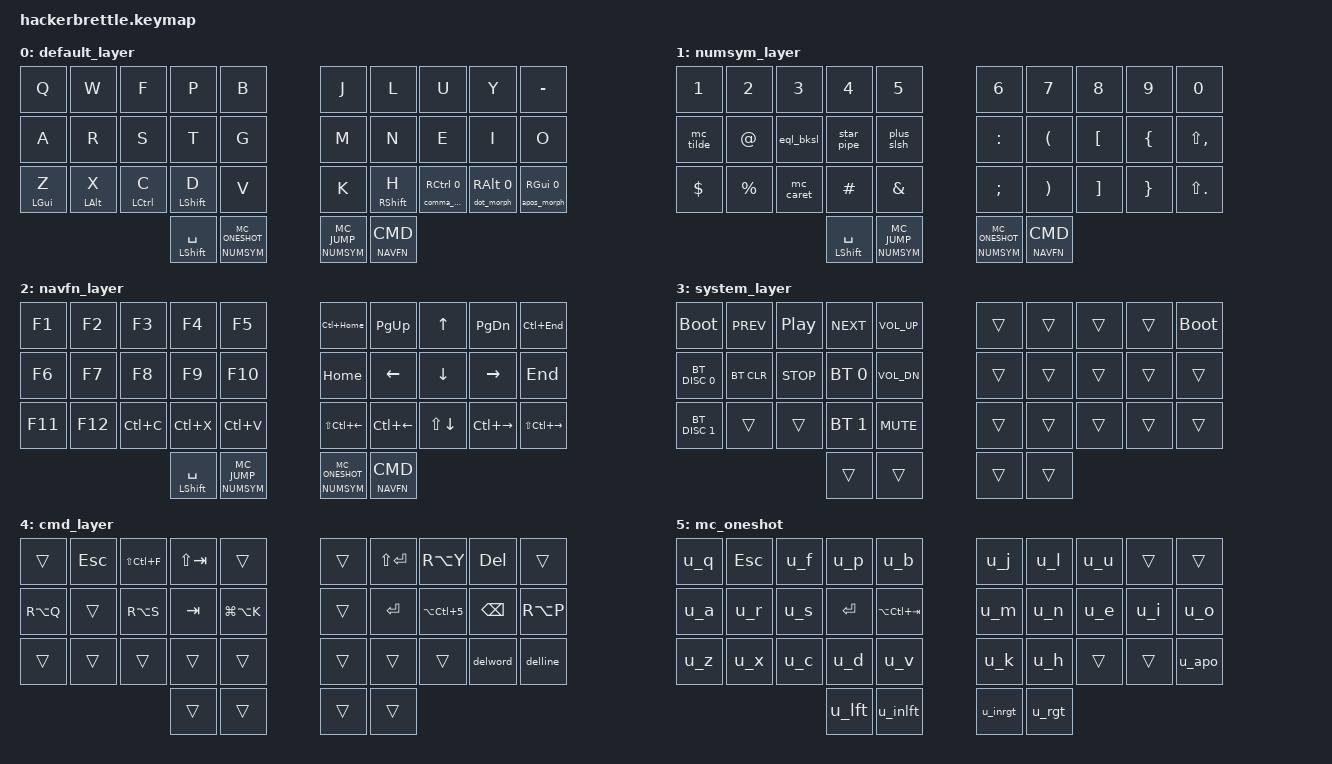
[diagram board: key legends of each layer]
// Copyright (c) 2022 The ZMK Contributors
// SPDX-License-Identifier: MIT

#include <behaviors.dtsi>
#include <dt-bindings/zmk/keys.h>
#include <dt-bindings/zmk/bt.h>
#include "inc/helpers.h"

// Layers
#define BASE 0
#define NUMSYM 1
#define NAVFN 2
#define SYSTEM 3
#define CMD 4
#define MC_ONESHOT 5
#define MC_JUMP 6
#define MC_M 7
#define MC_S 8
#define MC_N 9
#define MC_T 10
#define MC_E 11
#define MC_C 12
#define MC_X 13
#define BASE_LAYERS BASE 

#define ___ &trans
#define toM &sl 7
#define toS &sl 8
#define toN &sl 9
#define toT &sl 10
#define toE &sl 11
#define toP &sl 12
#define toX &sl 13

/* How quickly Combo keys must be pressed together */
#define COMBO_TIMEOUT_MS 30
/* Macro timers; can be increased for systems that don't like 0ms Macros */
#define FAST_MACRO_TAP_MS 0
#define FAST_MACRO_WAIT_MS 0

/* Custom base layer punctuation */
SHIFT_MORPH(comma_qust, &kp COMMA, &kp QMARK)
SHIFT_MORPH(dot_exc, &kp DOT, &kp EXCL)
SHIFT_MORPH(eql_bksl, &kp EQUAL, &kp BSLH)
SHIFT_MORPH(star_pipe, &kp STAR, &kp PIPE)
SHIFT_MORPH(plus_slsh, &kp PLUS, &kp FSLH)

MY_HOLD_TAP(dot_morph, &dot_exc, &kp)
MY_HOLD_TAP(comma_morph, &comma_qust, &kp)
MY_HOLD_TAP(apos_morph, &mc_apos, &kp)

/ {
    behaviors {
        ht: hold_tap {
            compatible = "zmk,behavior-hold-tap";
            #binding-cells = <2>;
            flavor = "balanced";
            tapping-term-ms = <300>;
            quick-tap-ms = <150>;
            require-prior-idle-ms = <100>;
            bindings = <&kp>, <&kp>;
        };

        /* Let Caps Word continue when typing Underscore */
        caps_word {
            continue-list = <UNDERSCORE MINUS BACKSPACE DELETE>;
        };

        hm: hold_mod {
            compatible = "zmk,behavior-hold-tap";
            #binding-cells = <2>;
            flavor = "balanced";
            tapping-term-ms = <300>;
            quick_tap_ms = <0>;
            bindings = <&mo>, <&sl>;
        };
    };
    
    conditional_layers {
        compatible = "zmk,conditional-layers";
        tri_layer {
            if-layers = <NUMSYM NAVFN>;
            then-layer = <SYSTEM>;
        };
    };

#include "inc/leader_macros.h" 
#include "inc/combos.h" 
    
 // cheat-sheet for indexes
 //       ┌──┐              ┌──┐
 //    ┌──┤2 ├──┬──┐  ┌──┬──┤7 ├──┐
 // ┌──┤1 ├──┤3 │4 │  │5 │6 ├──┤8 ├──┐
 // │0 ├──┤12├──┼──┤  ├──┼──┤17├──┤9 │
 // ├──┤11├──┤13│14│  │15│16├──┤18├──┤
 // │10├──┤22├──┼──┤  ├──┼──┤27├──┤19│
 // ├──┤21├──┤23│24│  │25│26├──┤28├──┤
 // │20├──┘  └──┴──┘  └──┴──┘  └──┤29│
 // └──┘     ┌──┬──┐  ┌──┬──┐     └──┘
 //          │30│31│  │32│33│
 //          └──┴──┘  └──┴──┘
/*
 * combos
 *             ┌─────┐                             ┌─────┐
 *       ┌─────┤     │                             │     ├─────┐
 * ┌─────┤ +=Del=+   ├─────┬─────┐     ┌─────┬─────┤  +=Del=+  ├─────┐
 * │     │     ├──\+SftTab+│   +===Caps===+  │     ├─────┤     │     │
 * │     ├─────┤     │     │     │     │     │     │     ├─────┤     │
 * ├─────┤+=BkSp=+   ├─────┼─────┤     ├─────┼─────┤  +=BkSp=+ ├─────┤
 * │     │     ├──\=+=Tab=+│     │     │     │     ├─────┤     │     │
 * │     ├─────┤     │     │     │     │     │     │     ├─────┤     │
 * ├─────┤  +=CtrlC+ ├─────┼─────┤     ├─────┼─────┤+=DelWord=+├─────┤
 * │ +=CtrlX+  ├────+CtrlV+│     │     │     │     ├─────┤+=DelLine=+│
 * │     ├─────┘     │     │     │     │     │     │     └─────┤     │
 * └─────┘           └─────┴─────┘     └─────┴─────┘           └─────┘
 *                   ┌─────┬─────┐     ┌─────┬─────┐
 *                   │     │     │     │     │     │
 *                   │     │     │     │+=system==+│
 *                   └─────┴─────┘     └─────┴─────┘
 */

    keymap {
        compatible = "zmk,keymap";
        default_layer {
            bindings = <
 //             ┌─────┐                             ┌─────┐
 //       ┌─────┤f    │                             │u    ├─────┐
 // ┌─────┤w    │     ├─────┬─────┐     ┌─────┬─────┤     │y    ├─────┐
 // │q    │     ├─────┤p    │b    │     │j    │l    ├─────┤     │- _  │
 // │     ├─────┤s    │     │     │     │     │     │e    ├─────┤     │
 // ├─────┤r    │     ├─────┼─────┤     ├─────┼─────┤     │i    ├─────┤
 // │a    │     ├─────┤t    │g    │     │m    │n    ├─────┤     │o    │
 // │     ├─────┤c    │     │     │     │     │     │, ?  ├─────┤     │
 // ├─────┤x    │lctl ├─────┼─────┤     ├─────┼─────┤rctl │. !  ├─────┤
 // │z    │lalt ├─────┤d    │v    │     │k    │h    ├─────┤ralt │' "  │
 // │lgui ├─────┘     │lshft│     │     │     │rshft│     └─────┤rgui │
 // └─────┘           └─────┴─────┘     └─────┴─────┘           └─────┘
 //                   ┌─────┬─────┐     ┌─────┬─────┐
 //                   │space│2lead│     │1lead│cmd  │
 //                   │shift│numsy│     │numsy│navfn│
 //                   └─────┴─────┘     └─────┴─────┘

            &kp Q      &kp W      &kp F      &kp P       &kp B          &kp J      &kp L       &kp U               &kp Y             &kp MINUS
            &kp A      &kp R      &kp S      &kp T       &kp G          &kp M      &kp N       &kp E               &kp I             &kp O
            &ht LGUI Z &ht LALT X &ht LCTL C &ht LSHFT D &kp V          &kp K      &ht RSHFT H &comma_morph RCTL 0 &dot_morph RALT 0 &apos_morph RGUI 0
                              &mt LSHFT SPACE   &hm NUMSYM MC_ONESHOT &hm NUMSYM MC_JUMP  &hm NAVFN CMD                                     
            >;
        };

        numsym_layer {
 //             ┌─────┐                             ┌─────┐
 //       ┌─────┤3    │                             │8    ├─────┐
 // ┌─────┤2    │     ├─────┬─────┐     ┌─────┬─────┤     │9    ├─────┐
 // │1    │     ├─────┤4    │5    │     │6    │7    ├─────┤     │0    │
 // │     ├─────┤= \  │     │     │     │     │     │[    ├─────┤     │
 // ├─────┤@    │     ├─────┼─────┤     ├─────┼─────┤     │{    ├─────┤
 // │~    │     ├─────┤* |  │+ /  │     │:    │(    ├─────┤     │<    │
 // │     ├─────┤^    │     │     │     │     │     │] ,  ├─────┤     │
 // ├─────┤%    │     ├─────┼─────┤     ├─────┼─────┤     │} .  ├─────┤
 // │$    │     ├─────┤#    │&    │     │;    │)    ├─────┤     │>    │
 // │     ├─────┘     │     │     │     │     │     │     └─────┤     │
 // └─────┘           └─────┴─────┘     └─────┴─────┘           └─────┘
 //                   ┌─────┬─────┐     ┌─────┬─────┐
 //                   │space│2lead│     │1lead│cmd  │
 //                   │shift│numsy│     │numsy│navfn│
 //                   └─────┴─────┘     └─────┴─────┘
            bindings = <
            &kp N1     &kp N2     &kp N3     &kp N4     &kp N5         &kp N6     &kp N7     &kp N8     &kp N9     &kp N0         
            &mc_tilde  &kp AT     &eql_bksl  &star_pipe &plus_slsh     &kp COLON  &kp LPAR   &kp LBKT   &kp LBRC   &kp LS(COMMA)
            &kp DOLLAR &kp PRCNT  &mc_caret  &kp HASH   &kp AMPS       &kp SEMI   &kp RPAR   &kp RBKT   &kp RBRC   &kp LS(DOT)
                              &mt LSHFT SPACE   &hm NUMSYM MC_JUMP &hm NUMSYM MC_ONESHOT &hm NAVFN CMD                                     
            >;
        };

        navfn_layer {
 //             ┌─────┐                             ┌─────┐
 //       ┌─────┤F3   │                             │↑    ├─────┐
 // ┌─────┤F2   │     ├─────┬─────┐     ┌─────┬─────┤     │PgDwn├─────┐
 // │F1   │     ├─────┤F4   │F5   │     │Top  │PgUp ├─────┤     │Bottm│
 // │     ├─────┤F8   │     │     │     │     │     │↓    ├─────┤     │
 // ├─────┤F7   │     ├─────┼─────┤     ├─────┼─────┤     │→    ├─────┤
 // │F6   │     ├─────┤F9   │F10  │     │Home │←    ├─────┤     │End  │
 // │     ├─────┤CtrlC│     │     │     │     │     │SelLn├─────┤     │
 // ├─────┤F12  │     ├─────┼─────┤     ├─────┼─────┤     │WrdRg├─────┤
 // │F11  │     ├─────┤CtrlX│CtrlV│     │SelWL│WrdLf├─────┤     │SelWR│
 // │     ├─────┘     │     │     │     │     │     │     └─────┤     │
 // └─────┘           └─────┴─────┘     └─────┴─────┘           └─────┘
 //                   ┌─────┬─────┐     ┌─────┬─────┐
 //                   │space│2lead│     │1lead│cmd  │
 //                   │shift│numsy│     │numsy│navfn│
 //                   └─────┴─────┘     └─────┴─────┘
            bindings = <
            &kp F1     &kp F2     &kp F3     &kp F4     &kp F5         &kp LC(HOME)     &kp PG_UP    &kp UP       &kp PG_DN     &kp LC(END)
            &kp F6     &kp F7     &kp F8     &kp F9     &kp F10        &kp HOME         &kp LEFT     &kp DOWN     &kp RIGHT     &kp END
            &kp F11    &kp F12    &kp LC(C)  &kp LC(X)  &kp LC(V)      &kp LS(LC(LEFT)) &kp LC(LEFT) &kp LS(DOWN) &kp LC(RIGHT) &kp LS(LC(RIGHT))
                              &mt LSHFT SPACE   &hm NUMSYM MC_JUMP &hm NUMSYM MC_ONESHOT &hm NAVFN CMD                                     
            >;
        };

        system_layer {
 //             ┌─────┐                             ┌─────┐
 //       ┌─────┤play │                             │mouse├─────┐
 // ┌─────┤track│pause├─────┬─────┐     ┌─────┬─────┤up   │msWhl├─────┐
 // │Boot │prev ├─────┤track│vol  │     │msWhl│msWhl├─────┤right│Boot │
 // │     ├─────┤stop │next │up   │     │up   │left │mouse├─────┤     │
 // ├─────┤BT   │     ├─────┼─────┤     ├─────┼─────┤down │mouse├─────┤
 // │BT   │clear├─────┤BT   │vol  │     │msWhl│mouse├─────┤right│mouse│
 // │dscn0├─────┤     │sel 0│down │     │down │left │mouse├─────┤acc1 │
 // ├─────┤     │     ├─────┼─────┤     ├─────┼─────┤btn3 │mouse├─────┤
 // │BT   │     ├─────┤BT   │vol  │     │     │mouse├─────┤btn2 │mouse│
 // │dscn1├─────┘     │sel 1│mute │     │     │btn1 │     └─────┤acc0 │
 // └─────┘           └─────┴─────┘     └─────┴─────┘           └─────┘
 //                   ┌─────┬─────┐     ┌─────┬─────┐
 //                   │space│1lead│     │2lead│cmd  │
 //                   │shift│numsy│     │numsy│navfn│
 //                   └─────┴─────┘     └─────┴─────┘
            bindings = <
            &bootloader   &kp C_PREV &kp C_PP   &kp C_NEXT   &kp C_VOL_UP     ___    ___    ___    ___    &bootloader
            &bt BT_DISC 0 &bt BT_CLR &kp C_STOP &bt BT_SEL 0 &kp C_VOL_DN     ___    ___    ___    ___    ___
            &bt BT_DISC 1 ___        ___        &bt BT_SEL 1 &kp C_MUTE       ___    ___    ___    ___    ___
                                                          ___     ___         ___     ___
            >;
        };

        cmd_layer {
 //             ┌─────┐                             ┌─────┐
 //       ┌─────┤Ctrl │                             │ü    ├─────┐
 // ┌─────┤Esc  │Sft F├─────┬─────┐     ┌─────┬─────┤     │Del  ├─────┐
 // │     │     ├─────┤Sft+ │     │     │     │Sft+ ├─────┤     │     │
 // │     ├─────┤ß    │Tab  │     │     │     │Retrn│€    ├─────┤     │
 // ├─────┤     │     ├─────┼─────┤     ├─────┼─────┤     │BkSp ├─────┤
 // │ä    │     ├─────┤Tab  │Mute/│     │     │Retrn├─────┤     │ö    │
 // │     ├─────┤     │     │Unmte│     │     │     │     ├─────┤     │
 // ├─────┤     │     ├─────┼─────┤     ├─────┼─────┤     │Del  ├─────┤
 // │     │     ├─────┤     │     │     │     │     ├─────┤Wrd  │Del  │
 // │     ├─────┘     │     │     │     │     │     │     └─────┤Line │
 // └─────┘           └─────┴─────┘     └─────┴─────┘           └─────┘
 //                   ┌─────┬─────┐     ┌─────┬─────┐
 //                   │     │     │     │     │     │
 //                   │     │     │     │     │     │
 //                   └─────┴─────┘     └─────┴─────┘
            bindings = <
            ___       &kp ESC &kp LS(LC(F)) &kp LS(TAB) ___         ___     &kp LS(RET) &kp RA(Y)      &kp DEL    ___
            &kp RA(Q) ___     &kp RA(S)     &kp TAB &kp LG(LA(K))   ___     &kp RET     &kp LA(LC(N5)) &kp BSPC   &kp RA(P)
            ___       ___     ___           ___         ___         ___     ___         ___            &delword   &delline
                                               ___      ___         ___     ___
            >;
        };
        
// special unicorn layers (as replacement for leader key functionality in ZMK)
// one-shot leader key
/*             ┌─────┐                             ┌─────┐
 *       ┌─────┤Doubl│                             │Dupli├─────┐
 * ┌─────┤Esc  │Shift├─────┬─────┐     ┌─────┬─────┤Line │     ├─────┐
 * │Lock │     ├─────┤Comnt│Multi│     │MltCm│Multi├─────┤     │     │
 * │     ├─────┤PrtSc│     │Comnt│     │InteJ│Code │[]   ├─────┤     │
 * ├─────┤WinR │     ├─────┼─────┤     ├─────┼─────┤     │{}   ├─────┤
 * │->   │     ├─────┤Retrn│CtAlt│     │- [ ]│()   ├─────┤     │´´   │
 * │     ├─────┤CtrlC│     │Tab  │     │     │     │     ├─────┤     │
 * ├─────┤CtrlY│     ├─────┼─────┤     ├─────┼─────┤     │     ├─────┤
 * │CtrlZ│     ├─────┤CtrlX│CtrlV│     │Alt  │Shift├─────┤     │""   │
 * │     ├─────┘     │     │     │     │CtrlV│CtrlV│     └─────┤     │
 * └─────┘           └─────┴─────┘     └─────┴─────┘           └─────┘
 *                   ┌─────┬─────┐     ┌─────┬─────┐
 *                   │WinLf│AltTb│     │Shift│WinRg│
 *                   │     │     │     │AltTb│     │
 *                   └─────┴─────┘     └─────┴─────┘*/
        mc_oneshot {
            bindings = <
            &u_q  &kp ESC &u_f  &u_p  &u_b               &u_j  &u_l  &u_u  ___   ___   
            &u_a  &u_r    &u_s  &kp RET &kp LA(LC(TAB))  &u_m  &u_n  &u_e  &u_i  &u_o   
            &u_z  &u_x    &u_c  &u_d  &u_v               &u_k  &u_h  ___   ___   &u_apo
                           &u_lft &u_inlft               &u_inrgt &u_rgt  
            >;
        };

        #include "inc/twoleader_keymap.h"
       
    };
};
